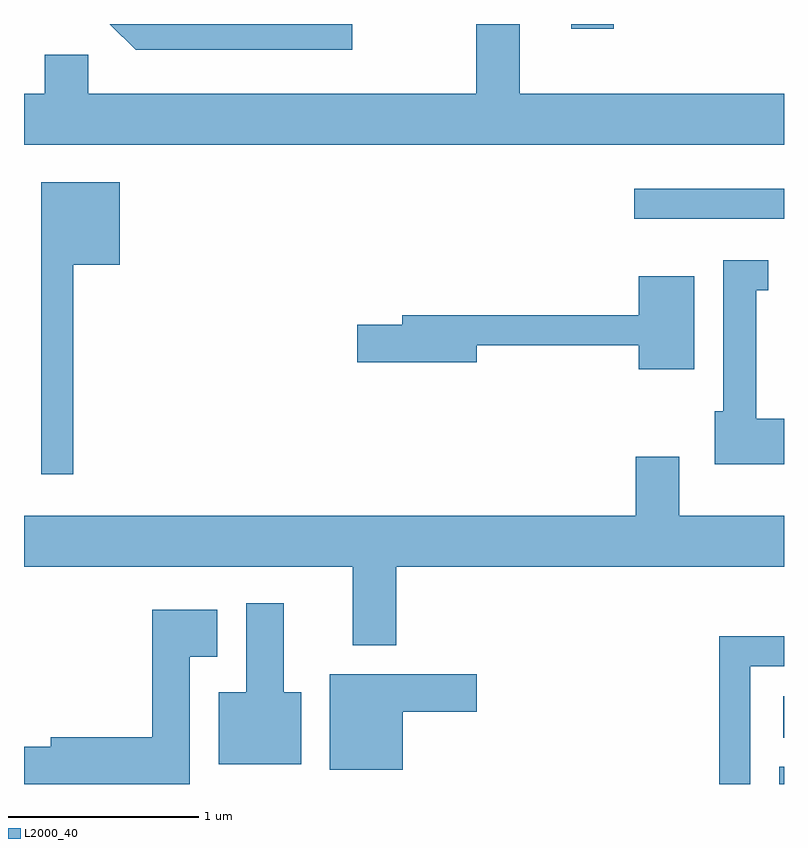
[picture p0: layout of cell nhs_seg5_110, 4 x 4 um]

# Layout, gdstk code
import gdstk
lib = gdstk.Library(unit=1e-6, precision=1e-09)
def R(c, l, rs):  # rectangles x0, y0, x1, y1
    for r in rs: c.add(gdstk.rectangle(r[:2], r[2:], *l))
def P(c, l, *ps):  # polygons
    for p in ps: c.add(gdstk.Polygon(p, *l))
L2000_40 = (2000, 40)

nhs_seg5_110 = lib.new_cell('nhs_seg5_110')
R(nhs_seg5_110, L2000_40, [(191.586,1480.072,191.611,1480.164), (191.606,1480.316,191.611,1480.534), (190.823,1483.046,191.611,1483.204), (190.491,1484.046,190.714,1484.072)])
P(nhs_seg5_110, L2000_40, [(191.611,1483.704),(190.219,1483.704),(190.219,1484.072),(189.991,1484.072),(189.991,1483.704),(187.949,1483.704),(187.949,1483.909),(187.721,1483.909),(187.721,1483.704),(187.611,1483.704),(187.611,1483.436),(191.611,1483.436)],
  [(189.338,1484.072),(188.063,1484.072),(188.199,1483.936),(189.338,1483.936)],
  [(187.869,1482.806),(188.114,1482.806),(188.114,1483.239),(187.701,1483.239),(187.701,1481.703),(187.869,1481.703)],
  [(191.611,1481.994),(191.464,1481.994),(191.464,1482.671),(191.528,1482.671),(191.528,1482.829),(191.291,1482.829),(191.291,1482.034),(191.246,1482.034),(191.246,1481.756),(191.611,1481.756)],
  [(191.139,1482.744),(190.846,1482.744),(190.846,1482.539),(189.601,1482.539),(189.601,1482.489),(189.366,1482.489),(189.366,1482.291),(189.994,1482.291),(189.994,1482.381),(190.846,1482.381),(190.846,1482.256),(191.139,1482.256)],
  [(189.569,1481.216),(191.611,1481.216),(191.611,1481.484),(191.059,1481.484),(191.059,1481.794),(190.831,1481.794),(190.831,1481.484),(187.611,1481.484),(187.611,1481.216),(189.341,1481.216),(189.341,1480.801),(189.569,1480.801)],
  [(189.069,1480.554),(188.979,1480.554),(188.979,1481.024),(188.781,1481.024),(188.781,1480.554),(188.636,1480.554),(188.636,1480.176),(189.069,1480.176)],
  [(188.484,1480.741),(188.629,1480.741),(188.629,1480.989),(188.286,1480.989),(188.286,1480.319),(187.751,1480.319),(187.751,1480.269),(187.611,1480.269),(187.611,1480.072),(188.484,1480.072)],
  [(191.434,1480.691),(191.611,1480.691),(191.611,1480.849),(191.271,1480.849),(191.271,1480.072),(191.434,1480.072)],
  [(189.604,1480.451),(189.994,1480.451),(189.994,1480.649),(189.221,1480.649),(189.221,1480.146),(189.604,1480.146)])

lib.write_gds('nhs_seg5_110.gds')
